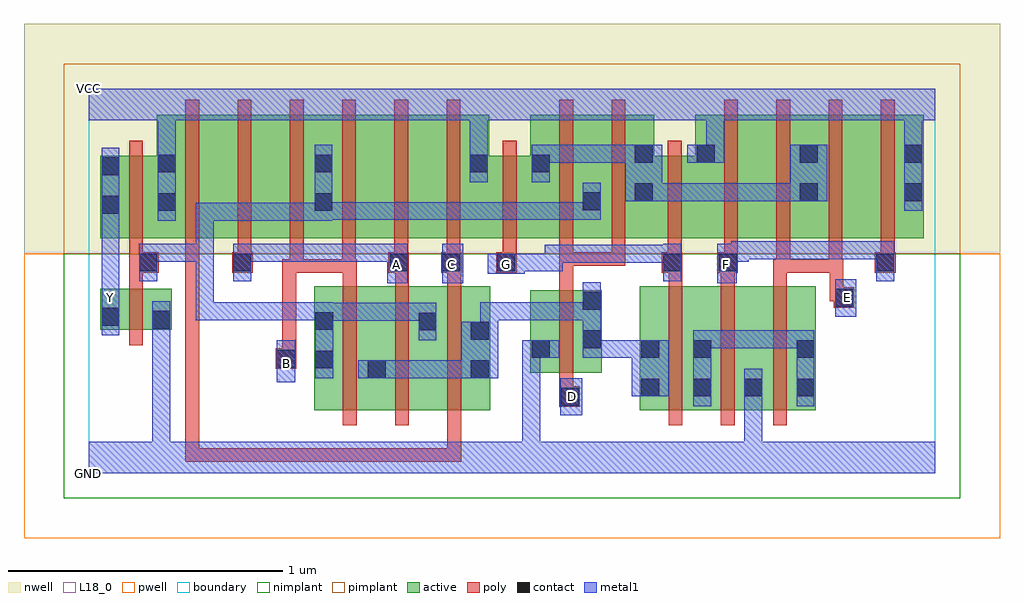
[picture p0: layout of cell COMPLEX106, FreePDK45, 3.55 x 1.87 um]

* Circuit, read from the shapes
.subckt COMPLEX106 A B C D E F G GND VCC Y
M1 GND n1 Y VSUBS nfet w=0.15u l=0.05u
M2 n2 B n1 VSUBS nfet w=0.45u l=0.05u
M3 n1 A n2 VSUBS nfet w=0.45u l=0.05u
M4 n2 C n1 VSUBS nfet w=0.45u l=0.05u
M5 n2 D GND VSUBS nfet w=0.3u l=0.05u
M6 n3 G n2 VSUBS nfet w=0.45u l=0.05u
M7 GND F n3 VSUBS nfet w=0.45u l=0.05u
M8 n3 E GND VSUBS nfet w=0.45u l=0.05u
M9 VCC n1 Y n4 pfet w=0.3u l=0.05u
M10 n5 C VCC n4 pfet w=0.45u l=0.05u
M11 n6 A n5 n4 pfet w=0.45u l=0.05u
M12 n1 B n6 n4 pfet w=0.45u l=0.05u
M13 n7 B n1 n4 pfet w=0.45u l=0.05u
M14 n8 A n7 n4 pfet w=0.45u l=0.05u
M15 VCC C n8 n4 pfet w=0.45u l=0.05u
M16 n9 G VCC n4 pfet w=0.3u l=0.05u m=2
M17 n1 D n9 n4 pfet w=0.45u l=0.05u m=2
M18 n10 F VCC n4 pfet w=0.45u l=0.05u
M19 n9 E n10 n4 pfet w=0.45u l=0.05u
M20 n11 E n9 n4 pfet w=0.45u l=0.05u
M21 VCC F n11 n4 pfet w=0.45u l=0.05u
.ends

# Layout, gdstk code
import gdstk
lib = gdstk.Library(unit=1e-6, precision=1e-09)
def R(c, l, rs):  # rectangles x0, y0, x1, y1
    for r in rs: c.add(gdstk.rectangle(r[:2], r[2:], *l))
def A(c, l, x, y, w, h, nx, ny, dx, dy):  # array of equal rectangles
    R(c, l, [(x+i*dx, y+j*dy, x+i*dx+w, y+j*dy+h) for i in range(nx) for j in range(ny)])
active = (1, 0)
pwell = (2, 0)
nwell = (3, 0)
nimplant = (4, 0)
pimplant = (5, 0)
poly = (9, 0)
contact = (10, 0)
metal1 = (11, 0)
L18_0 = (18, 0)
boundary = (235, 0)

complex106 = lib.new_cell('COMPLEX106')
R(complex106, active, [(0.82,0.23,1.085,0.68), (1.01,0.23,1.27,0.68), (1.195,0.23,1.46,0.68), (2.005,0.23,2.08,0.68), (2.005,0.23,2.27,0.68), (2.195,0.23,2.27,0.542), (2.195,0.23,2.455,0.68), (2.38,0.23,2.645,0.68), (2.38,0.23,2.455,0.542), (2.57,0.23,2.645,0.68), (1.385,0.232,1.46,0.68), (0.82,0.257,0.895,0.68), (1.01,0.257,1.085,0.667), (1.195,0.295,1.27,0.59), (1.607,0.367,1.867,0.667), (1.607,0.367,1.682,0.625), (1.792,0.407,1.867,0.667), (0.042,0.522,0.117,0.672), (0.042,0.522,0.302,0.672), (0.227,0.522,0.302,0.672), (0.042,0.855,0.322,1.155), (0.042,0.855,0.117,1.155), (0.247,0.855,0.472,1.305), (0.247,0.855,0.322,1.165), (0.472,0.855,0.662,1.305), (0.662,0.855,0.892,1.305), (0.817,0.855,1.042,1.305), (0.817,0.855,0.892,1.2), (1.042,0.855,1.232,1.305), (1.232,0.855,1.457,1.305), (1.382,0.855,1.682,1.155), (1.607,0.855,1.867,1.305), (1.792,0.855,2.057,1.305), (1.792,0.855,1.867,1.07), (1.982,0.855,2.057,1.2), (1.982,0.855,2.282,1.155), (2.207,0.855,2.432,1.305), (2.432,0.855,2.657,1.305), (2.582,0.855,2.812,1.305), (2.582,0.855,2.657,1.2), (2.812,0.855,3.037,1.305), (2.962,0.855,3.037,1.305), (1.382,0.897,1.457,1.165), (1.607,1.007,1.682,1.2), (2.207,1.007,2.282,1.2)])
R(complex106, pwell, [(-0.235,-0.235,3.315,0.8)])
R(complex106, nwell, [(-0.235,0.8,3.315,1.635)])
R(complex106, nimplant, [(-0.09,-0.09,3.17,0.8)])
R(complex106, pimplant, [(-0.09,0.8,3.17,1.49)])
A(complex106, poly, 0.925, 0.175, 0.05, 0.56, 3, 1, 0.19, 0)
A(complex106, poly, 2.11, 0.175, 0.05, 0.56, 3, 1, 0.19, 0)
A(complex106, poly, 0.925, 0.685, 0.05, 0.095, 3, 1, 0.19, 0)
A(complex106, poly, 2.11, 0.685, 0.05, 0.095, 3, 1, 0.19, 0)
A(complex106, poly, 1.302, 0.755, 0.05, 0.095, 3, 1, 0.205, 0)
A(complex106, poly, 1.902, 0.755, 0.05, 0.095, 3, 1, 0.205, 0)
A(complex106, poly, 0.352, 0.8, 0.05, 0.56, 6, 1, 0.19, 0)
A(complex106, poly, 2.312, 0.8, 0.05, 0.56, 4, 1, 0.19, 0)
R(complex106, poly, [(0.352,0.042,0.402,0.092), (0.352,0.042,0.402,0.092), (0.352,0.042,0.402,0.092), (0.352,0.042,0.402,0.092), (0.352,0.042,0.402,0.092), (0.352,0.042,0.402,0.092), (0.352,0.042,0.402,0.092), (0.352,0.042,0.402,0.092), (0.352,0.042,0.402,0.092), (0.352,0.042,0.402,0.092), (0.352,0.042,0.402,0.092), (0.352,0.042,0.402,0.092), (0.352,0.042,0.402,0.092), (0.352,0.042,0.535,0.092), (0.352,0.042,0.402,0.85), (0.485,0.042,0.535,0.092), (0.485,0.042,0.535,0.092), (0.485,0.042,0.535,0.092), (0.485,0.042,0.73,0.092), (0.68,0.042,0.73,0.092), (0.68,0.042,0.73,0.092), (0.68,0.042,0.73,0.092), (0.68,0.042,1.007,0.092), (0.957,0.042,1.007,0.092), (0.957,0.042,1.007,0.092), (0.957,0.042,1.007,0.092), (0.957,0.042,1.14,0.092), (1.09,0.042,1.14,0.092), (1.09,0.042,1.14,0.092), (1.09,0.042,1.14,0.092), (1.09,0.042,1.355,0.092), (1.305,0.042,1.355,0.092), (1.305,0.042,1.355,0.225), (1.712,0.242,1.787,0.317), (1.712,0.267,1.762,0.362), (1.712,0.312,1.762,0.722), (0.68,0.38,0.755,0.455), (0.705,0.405,0.755,0.78), (0.147,0.467,0.197,0.727), (2.71,0.602,2.785,0.677), (2.695,0.627,2.745,0.78), (2.695,0.627,2.76,0.677), (2.71,0.627,2.76,0.677), (1.712,0.672,1.762,0.805), (0.147,0.677,0.197,0.78), (0.147,0.73,0.255,0.805), (0.522,0.73,0.597,0.805), (0.705,0.73,0.755,0.78), (0.705,0.73,0.755,0.78), (0.705,0.73,0.782,0.78), (0.732,0.73,0.782,0.85), (0.732,0.73,0.972,0.78), (0.732,0.73,0.782,0.78), (0.732,0.73,0.782,0.78), (0.922,0.73,0.972,0.85), (0.922,0.73,0.975,0.78), (1.09,0.73,1.165,0.805), (1.282,0.73,1.357,0.805), (1.482,0.73,1.557,0.805), (2.085,0.73,2.16,0.805), (2.287,0.73,2.362,0.805), (2.49,0.73,2.552,0.78), (2.502,0.73,2.552,0.85), (2.502,0.73,2.742,0.78), (2.502,0.73,2.552,0.78), (2.502,0.73,2.552,0.78), (2.692,0.73,2.742,0.85), (2.692,0.73,2.745,0.78), (2.86,0.73,2.935,0.805), (0.147,0.755,0.197,0.85), (0.542,0.755,0.592,0.85), (1.112,0.755,1.162,0.85), (1.712,0.755,1.952,0.805), (1.712,0.755,1.762,0.805), (1.902,0.755,1.952,0.805), (1.902,0.755,1.952,0.805), (1.902,0.755,1.952,0.805), (2.882,0.755,2.932,0.85), (0.147,0.8,0.197,1.21), (1.507,0.8,1.557,1.21), (1.712,0.8,1.762,1.36), (1.902,0.8,1.952,1.36), (2.107,0.8,2.157,1.21)])
R(complex106, contact, [(1.717,0.247,1.782,0.312), (2.01,0.28,2.075,0.345), (2.2,0.28,2.265,0.345), (2.385,0.28,2.45,0.345), (2.575,0.28,2.64,0.345), (1.015,0.347,1.08,0.412), (1.39,0.347,1.455,0.412), (0.825,0.382,0.89,0.447), (0.685,0.385,0.75,0.45), (1.612,0.42,1.677,0.485), (2.01,0.42,2.075,0.485), (2.2,0.42,2.265,0.485), (2.575,0.42,2.64,0.485), (1.797,0.455,1.862,0.52), (1.39,0.487,1.455,0.552), (1.2,0.52,1.265,0.585), (0.825,0.522,0.89,0.587), (0.232,0.527,0.297,0.592), (0.047,0.537,0.112,0.602), (1.797,0.595,1.862,0.66), (2.715,0.607,2.78,0.672), (0.185,0.735,0.25,0.8), (0.527,0.735,0.592,0.8), (1.095,0.735,1.16,0.8), (1.287,0.735,1.352,0.8), (1.487,0.735,1.552,0.8), (2.09,0.735,2.155,0.8), (2.292,0.735,2.357,0.8), (2.865,0.735,2.93,0.8), (0.047,0.945,0.112,1.01), (0.252,0.955,0.317,1.02), (0.822,0.955,0.887,1.02), (1.797,0.957,1.862,1.022), (1.987,0.99,2.052,1.055), (2.587,0.99,2.652,1.055), (2.967,0.99,3.032,1.055), (0.047,1.085,0.112,1.15), (0.252,1.095,0.317,1.16), (0.822,1.095,0.887,1.16), (1.387,1.095,1.452,1.16), (1.612,1.095,1.677,1.16), (1.987,1.13,2.052,1.195), (2.212,1.13,2.277,1.195), (2.587,1.13,2.652,1.195), (2.967,1.13,3.032,1.195)])
R(complex106, metal1, [(0,0,3.08,0.115), (0.232,0.05,0.297,0.115), (0.232,0.05,0.297,0.115), (0.232,0.05,0.297,0.115), (0.232,0.05,0.297,0.115), (0.232,0.05,0.297,0.115), (0.232,0.05,0.297,0.115), (0.232,0.05,0.297,0.115), (0.232,0.05,0.297,0.115), (0.232,0.05,0.297,0.557), (1.577,0.05,1.642,0.115), (1.577,0.05,1.642,0.115), (1.577,0.05,1.642,0.485), (2.385,0.05,2.45,0.115), (2.385,0.05,2.45,0.115), (2.385,0.05,2.45,0.115), (2.385,0.05,2.45,0.115), (2.385,0.05,2.45,0.31), (1.715,0.212,1.795,0.347), (2.2,0.245,2.265,0.52), (2.385,0.245,2.45,0.38), (2.575,0.245,2.64,0.52), (1.975,0.28,2.11,0.485), (0.685,0.332,0.752,0.485), (0.825,0.347,0.89,0.622), (0.98,0.347,1.115,0.412), (1.05,0.347,1.115,0.412), (1.05,0.347,1.115,0.412), (1.05,0.347,1.282,0.412), (1.217,0.347,1.282,0.412), (1.217,0.347,1.282,0.412), (1.217,0.347,1.282,0.412), (1.217,0.347,1.42,0.412), (1.355,0.347,1.49,0.552), (1.577,0.42,1.642,0.485), (1.577,0.42,1.642,0.485), (1.577,0.42,1.642,0.485), (1.577,0.42,1.642,0.485), (1.577,0.42,1.712,0.485), (1.797,0.42,1.862,0.695), (1.797,0.42,1.862,0.485), (1.797,0.42,1.862,0.485), (1.797,0.42,2.04,0.485), (2.2,0.455,2.402,0.52), (2.337,0.455,2.402,0.52), (2.337,0.455,2.402,0.52), (2.337,0.455,2.402,0.52), (2.337,0.455,2.64,0.52), (2.575,0.455,2.64,0.52), (2.575,0.455,2.64,0.52), (1.2,0.485,1.265,0.62), (1.425,0.487,1.49,0.622), (0.232,0.492,0.297,0.627), (0.047,0.502,0.112,0.637), (0.825,0.555,0.89,0.62), (0.825,0.555,0.89,0.62), (0.825,0.555,1.127,0.62), (1.062,0.555,1.127,0.62), (1.062,0.555,1.127,0.62), (1.062,0.555,1.127,0.62), (1.062,0.555,1.265,0.62), (0.39,0.557,0.455,0.622), (0.39,0.557,0.592,0.622), (0.39,0.557,0.455,0.835), (0.527,0.557,0.592,0.622), (0.527,0.557,0.592,0.622), (0.527,0.557,0.592,0.622), (0.527,0.557,0.75,0.622), (0.685,0.557,0.75,0.622), (0.685,0.557,0.89,0.622), (1.425,0.557,1.49,0.622), (1.425,0.557,1.49,0.622), (1.425,0.557,1.49,0.622), (1.425,0.557,1.725,0.622), (1.66,0.557,1.725,0.622), (1.66,0.557,1.725,0.622), (1.66,0.557,1.725,0.622), (1.66,0.557,1.862,0.622), (2.715,0.57,2.792,0.707), (0.047,0.572,0.112,0.637), (0.047,0.572,0.112,0.707), (0.047,0.642,0.112,0.975), (1.087,0.692,1.16,0.835), (1.287,0.692,1.362,0.835), (2.287,0.692,2.357,0.835), (0.185,0.7,0.25,0.835), (0.527,0.7,0.592,0.835), (2.09,0.7,2.155,0.835), (2.865,0.7,2.93,0.845), (1.452,0.727,1.587,0.8), (1.522,0.735,1.725,0.8), (1.66,0.735,1.725,0.832), (1.66,0.767,1.725,0.832), (1.66,0.767,1.725,0.832), (1.66,0.767,1.88,0.832), (1.815,0.767,1.88,0.832), (1.815,0.767,1.88,0.832), (1.815,0.767,1.88,0.832), (1.815,0.767,2.017,0.832), (1.952,0.767,2.017,0.832), (1.952,0.767,2.155,0.832), (0.185,0.77,0.25,0.835), (0.185,0.77,0.25,0.835), (0.185,0.77,0.455,0.835), (0.39,0.77,0.455,0.835), (0.39,0.77,0.455,0.835), (0.39,0.77,0.455,0.835), (0.39,0.77,0.455,0.985), (0.527,0.77,0.592,0.835), (0.527,0.77,0.592,0.835), (0.527,0.77,0.75,0.835), (0.685,0.77,0.75,0.835), (0.685,0.77,0.75,0.835), (0.685,0.77,0.75,0.835), (0.685,0.77,0.977,0.835), (0.912,0.77,1.127,0.835), (0.912,0.77,0.977,0.835), (1.062,0.77,1.127,0.835), (1.062,0.77,1.152,0.835), (2.292,0.77,2.402,0.835), (2.337,0.77,2.402,0.845), (2.337,0.78,2.642,0.845), (2.577,0.78,2.642,0.845), (2.577,0.78,2.642,0.845), (2.577,0.78,2.642,0.845), (2.577,0.78,2.78,0.845), (2.715,0.78,2.93,0.845), (2.715,0.78,2.78,0.845), (2.715,0.78,2.78,0.845), (2.715,0.78,2.78,0.845), (0.047,0.91,0.112,1.185), (0.252,0.92,0.317,1.195), (0.39,0.92,0.455,0.985), (0.39,0.92,0.592,0.985), (0.527,0.92,0.592,0.985), (0.527,0.92,0.592,0.985), (0.527,0.92,0.592,0.985), (0.527,0.92,0.75,0.985), (0.685,0.92,0.75,0.985), (0.685,0.92,0.887,0.985), (0.822,0.92,0.887,1.195), (0.822,0.922,0.887,0.987), (0.822,0.922,0.887,0.987), (0.822,0.922,1.127,0.987), (1.062,0.922,1.127,0.987), (1.062,0.922,1.127,0.987), (1.062,0.922,1.127,0.987), (1.062,0.922,1.265,0.987), (1.2,0.922,1.265,0.987), (1.2,0.922,1.265,0.987), (1.2,0.922,1.265,0.987), (1.2,0.922,1.5,0.987), (1.435,0.922,1.5,0.987), (1.435,0.922,1.5,0.987), (1.435,0.922,1.5,0.987), (1.435,0.922,1.725,0.987), (1.66,0.922,1.725,0.987), (1.66,0.922,1.725,0.987), (1.66,0.922,1.725,0.987), (1.66,0.922,1.862,0.987), (1.797,0.922,1.862,1.057), (2.967,0.955,3.032,1.23), (1.952,0.99,2.087,1.195), (2.022,0.99,2.087,1.055), (2.022,0.99,2.087,1.055), (2.022,0.99,2.215,1.055), (2.15,0.99,2.215,1.055), (2.15,0.99,2.225,1.055), (2.16,0.99,2.225,1.055), (2.16,0.99,2.402,1.055), (2.337,0.99,2.402,1.055), (2.337,0.99,2.402,1.055), (2.337,0.99,2.402,1.055), (2.337,0.99,2.617,1.055), (2.552,0.99,2.617,1.055), (2.552,0.99,2.617,1.055), (2.552,0.99,2.687,1.195), (1.387,1.06,1.452,1.195), (1.612,1.06,1.677,1.195), (0.252,1.13,0.317,1.35), (1.387,1.13,1.452,1.35), (1.612,1.13,1.725,1.195), (1.66,1.13,1.725,1.195), (1.66,1.13,1.862,1.195), (1.797,1.13,1.862,1.195), (1.797,1.13,2.017,1.195), (1.952,1.13,2.017,1.195), (1.952,1.13,2.017,1.195), (2.177,1.13,2.312,1.195), (2.247,1.13,2.312,1.35), (2.967,1.165,3.032,1.35), (0,1.285,3.08,1.4)])
A(complex106, L18_0, 1.087, 0.727, 0.065, 0.065, 3, 1, 0.2, 0)
R(complex106, L18_0, [(0,0,3.08,0.115), (0.232,0.05,0.297,0.115), (0.232,0.05,0.297,0.115), (0.232,0.05,0.297,0.115), (0.232,0.05,0.297,0.115), (0.232,0.05,0.297,0.115), (0.232,0.05,0.297,0.115), (0.232,0.05,0.297,0.115), (0.232,0.05,0.297,0.115), (0.232,0.05,0.297,0.557), (1.577,0.05,1.642,0.115), (1.577,0.05,1.642,0.115), (1.577,0.05,1.642,0.485), (2.385,0.05,2.45,0.115), (2.385,0.05,2.45,0.115), (2.385,0.05,2.45,0.115), (2.385,0.05,2.45,0.115), (2.385,0.05,2.45,0.31), (1.715,0.212,1.795,0.347), (2.385,0.245,2.45,0.38), (1.727,0.247,1.792,0.312), (0.685,0.332,0.752,0.485), (0.687,0.367,0.752,0.432), (1.577,0.42,1.642,0.485), (1.577,0.42,1.642,0.485), (1.577,0.42,1.642,0.485), (1.577,0.42,1.642,0.485), (1.577,0.42,1.712,0.485), (0.232,0.492,0.297,0.627), (0.047,0.502,0.112,0.637), (2.715,0.57,2.792,0.707), (0.047,0.572,0.112,0.707), (0.047,0.572,0.112,0.637), (0.047,0.607,0.112,0.672), (2.727,0.607,2.792,0.672), (0.047,0.642,0.112,0.975), (1.087,0.692,1.16,0.835), (1.287,0.692,1.362,0.835), (2.287,0.692,2.357,0.835), (0.527,0.7,0.592,0.835), (2.09,0.7,2.155,0.835), (2.865,0.7,2.93,0.845), (1.452,0.727,1.587,0.8), (2.287,0.727,2.352,0.792), (1.522,0.735,1.725,0.8), (1.66,0.735,1.725,0.832), (1.66,0.767,1.725,0.832), (1.66,0.767,1.725,0.832), (1.66,0.767,1.88,0.832), (1.815,0.767,1.88,0.832), (1.815,0.767,1.88,0.832), (1.815,0.767,1.88,0.832), (1.815,0.767,2.017,0.832), (1.952,0.767,2.017,0.832), (1.952,0.767,2.155,0.832), (0.527,0.77,0.592,0.835), (0.527,0.77,0.592,0.835), (0.527,0.77,0.75,0.835), (0.685,0.77,0.75,0.835), (0.685,0.77,0.75,0.835), (0.685,0.77,0.75,0.835), (0.685,0.77,0.977,0.835), (0.912,0.77,0.977,0.835), (0.912,0.77,1.127,0.835), (1.062,0.77,1.127,0.835), (1.062,0.77,1.152,0.835), (2.292,0.77,2.402,0.835), (2.337,0.77,2.402,0.845), (2.337,0.78,2.642,0.845), (2.577,0.78,2.642,0.845), (2.577,0.78,2.642,0.845), (2.577,0.78,2.642,0.845), (2.577,0.78,2.78,0.845), (2.715,0.78,2.78,0.845), (2.715,0.78,2.78,0.845), (2.715,0.78,2.78,0.845), (2.715,0.78,2.93,0.845), (0.047,0.91,0.112,1.185), (0.252,0.92,0.317,1.195), (2.967,0.955,3.032,1.23), (1.387,1.06,1.452,1.195), (0.252,1.13,0.317,1.35), (1.387,1.13,1.452,1.35), (2.177,1.13,2.312,1.195), (2.247,1.13,2.312,1.35), (2.967,1.165,3.032,1.35), (0,1.285,3.08,1.4)])
R(complex106, boundary, [(0,0,3.08,1.4)])
complex106.add(gdstk.Label('A', (1.12,0.76), layer=11, texttype=0))
complex106.add(gdstk.Label('B', (0.72,0.4), layer=11, texttype=0))
complex106.add(gdstk.Label('C', (1.32,0.76), layer=11, texttype=0))
complex106.add(gdstk.Label('D', (1.76,0.28), layer=11, texttype=0))
complex106.add(gdstk.Label('E', (2.76,0.64), layer=11, texttype=0))
complex106.add(gdstk.Label('F', (2.32,0.76), layer=11, texttype=0))
complex106.add(gdstk.Label('G', (1.52,0.76), layer=11, texttype=0))
complex106.add(gdstk.Label('Y', (0.08,0.64), layer=11, texttype=0))
complex106.add(gdstk.Label('VCC', (0,1.4), layer=11, texttype=0))
complex106.add(gdstk.Label('GND', (0,0), layer=11, texttype=0))

lib.write_gds('COMPLEX106.gds')
